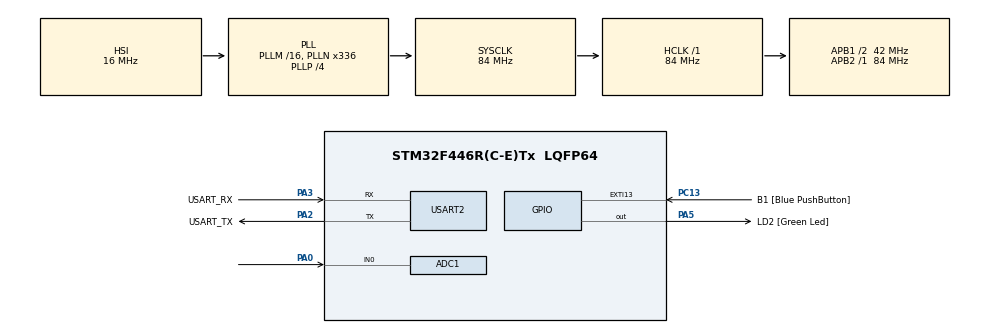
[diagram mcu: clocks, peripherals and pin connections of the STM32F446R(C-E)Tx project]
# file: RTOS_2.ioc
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ADC1.Channel-0\#ChannelRegularConversion=ADC_CHANNEL_0
ADC1.Channel-1\#ChannelRegularConversion=ADC_CHANNEL_TEMPSENSOR
ADC1.DMAContinuousRequests=ENABLE
ADC1.ExternalTrigConv=ADC_EXTERNALTRIGCONV_T2_TRGO
ADC1.NbrOfConversion=2
ADC1.NbrOfConversionFlag=1
ADC1.Rank-0\#ChannelRegularConversion=1
ADC1.Rank-1\#ChannelRegularConversion=2
ADC1.SamplingTime-0\#ChannelRegularConversion=ADC_SAMPLETIME_56CYCLES
ADC1.SamplingTime-1\#ChannelRegularConversion=ADC_SAMPLETIME_480CYCLES
ADC1.ScanConvMode=ENABLE
ADC1.master=1
Dma.ADC1.0.Direction=DMA_PERIPH_TO_MEMORY
Dma.ADC1.0.FIFOMode=DMA_FIFOMODE_DISABLE
Dma.ADC1.0.Instance=DMA2_Stream0
Dma.ADC1.0.MemDataAlignment=DMA_MDATAALIGN_HALFWORD
Dma.ADC1.0.MemInc=DMA_MINC_ENABLE
Dma.ADC1.0.Mode=DMA_CIRCULAR
Dma.ADC1.0.PeriphDataAlignment=DMA_PDATAALIGN_HALFWORD
Dma.ADC1.0.PeriphInc=DMA_PINC_DISABLE
Dma.ADC1.0.Priority=DMA_PRIORITY_LOW
Dma.Request0=ADC1
FREERTOS.Queues01=myQueue01,16,AdcVals_t,0,Dynamic,NULL,NULL;SendQueue,16,CalcVals_t,0,Dynamic,NULL,NULL
FREERTOS.Tasks01=defaultTask,24,128,StartDefaultTask,Default,NULL,Dynamic,NULL,NULL;SendTask,8,2048,StartSendTask,Default,NULL,Dynamic,NULL,NULL
FREERTOS.Timers01=myTimer01,Callback01,osTimerPeriodic,Default,NULL,Dynamic,NULL
FREERTOS.configENABLE_FPU=1
Mcu.Family=STM32F4
Mcu.Name=STM32F446R(C-E)Tx
Mcu.Package=LQFP64
NVIC.DMA2_Stream0_IRQn=true\:5\:0\:false\:false\:true\:true\:false\:true\:true
NVIC.PriorityGroup=NVIC_PRIORITYGROUP_4
NVIC.TIM2_IRQn=true\:5\:0\:false\:false\:true\:true\:true\:true\:true
NVIC.TIM3_IRQn=true\:15\:0\:false\:false\:true\:false\:false\:true\:true
NVIC.TIM6_DAC_IRQn=true\:5\:0\:false\:false\:true\:true\:true\:true\:true
NVIC.TimeBase=TIM3_IRQn
NVIC.TimeBaseIP=TIM3
PA0-WKUP.Signal=ADCx_IN0
PA13.GPIO_Label=TMS
PA13.Mode=Serial_Wire
PA13.Signal=SYS_JTMS-SWDIO
PA14.GPIO_Label=TCK
PA14.Mode=Serial_Wire
PA14.Signal=SYS_JTCK-SWCLK
PA2.GPIO_Label=USART_TX
PA2.Mode=Asynchronous
PA2.Signal=USART2_TX
PA3.GPIO_Label=USART_RX
PA3.Mode=Asynchronous
PA3.Signal=USART2_RX
PA5.GPIO_Label=LD2 [Green Led]
PA5.Signal=GPIO_Output
PB3.GPIO_Label=SWO
PB3.Signal=SYS_JTDO-SWO
PC13.GPIO_Label=B1 [Blue PushButton]
PC13.GPIO_ModeDefaultEXTI=GPIO_MODE_IT_FALLING
PC13.Signal=GPXTI13
PC14-OSC32_IN.Signal=RCC_OSC32_IN
PC15-OSC32_OUT.Signal=RCC_OSC32_OUT
PH0-OSC_IN.Signal=RCC_OSC_IN
PH1-OSC_OUT.Signal=RCC_OSC_OUT
ProjectManager.HeapSize=0x200
ProjectManager.StackSize=0x400
ProjectManager.TargetToolchain=STM32CubeIDE
RCC.AHBFreq_Value=84000000
RCC.APB1CLKDivider=RCC_HCLK_DIV2
RCC.APB1Freq_Value=42000000
RCC.APB1TimFreq_Value=84000000
RCC.APB2Freq_Value=84000000
RCC.APB2TimFreq_Value=84000000
RCC.CortexFreq_Value=84000000
RCC.FLatency-AdvancedSettings=FLASH_LATENCY_2
RCC.HCLKFreq_Value=84000000
RCC.HSE_VALUE=8000000
RCC.HSI_VALUE=16000000
RCC.LSE_VALUE=32768
RCC.PLLN=336
RCC.PLLP=RCC_PLLP_DIV4
RCC.SYSCLKFreq_VALUE=84000000
RCC.SYSCLKSource=RCC_SYSCLKSOURCE_PLLCLK
RCC.USBFreq_Value=168000000
RCC.VCOOutputFreq_Value=336000000
SH.ADCx_IN0.0=ADC1_IN0,IN0
TIM2.AutoReloadPreload=TIM_AUTORELOAD_PRELOAD_ENABLE
TIM2.ClockDivision=TIM_CLOCKDIVISION_DIV4
TIM2.Period=65535
TIM2.Prescaler=642
TIM2.TIM_MasterOutputTrigger=TIM_TRGO_UPDATE
TIM6.AutoReloadPreload=TIM_AUTORELOAD_PRELOAD_ENABLE
TIM6.Prescaler=642
TIM6.TIM_MasterOutputTrigger=TIM_TRGO_UPDATE
USART2.VirtualMode=VM_ASYNC
VP_ADC1_TempSens_Input.Mode=IN-TempSens
VP_FREERTOS_VS_CMSIS_V2.Mode=CMSIS_V2
VP_SYS_VS_tim3.Mode=TIM3
VP_TIM2_VS_ClockSourceINT.Mode=Internal
VP_TIM6_VS_ClockSourceINT.Mode=Enable_Timer
board=NUCLEO-F446RE

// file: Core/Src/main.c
/* USER CODE BEGIN Header */
/**
  ******************************************************************************
  * @file           : main.c
  * @brief          : Main program body
  ******************************************************************************
  * @attention
  *
  * Copyright (c) 2023 STMicroelectronics.
  * All rights reserved.
  *
  * This software is licensed under terms that can be found in the LICENSE file
  * in the root directory of this software component.
  * If no LICENSE file comes with this software, it is provided AS-IS.
  *
  ******************************************************************************
  */
/* USER CODE END Header */
#include "main.h"
#include "cmsis_os.h"

/* USER CODE BEGIN PTD */
typedef struct AdcVals_t {
	volatile uint16_t volt;
	volatile uint16_t temp;
}AdcVals_t;

typedef struct CalcVals_t{
	float buff[16];
	uint8_t count;
	float avg;
	uint16_t freq;
}CalcVals_t;
/* USER CODE END PTD */

/* USER CODE BEGIN PD */
#define V_REFF		3.3
#define V25			0.76
#define AVG_SLOP	0.0025
#define ADC_MAX		4096
/* USER CODE END PD */

ADC_HandleTypeDef hadc1;
DMA_HandleTypeDef hdma_adc1;

TIM_HandleTypeDef htim2;
TIM_HandleTypeDef htim6;

UART_HandleTypeDef huart2;

/* Definitions for defaultTask */
osThreadId_t defaultTaskHandle;
const osThreadAttr_t defaultTask_attributes = {
  .name = "defaultTask",
  .stack_size = 128 * 4,
  .priority = (osPriority_t) osPriorityNormal,
};
/* Definitions for SendTask */
osThreadId_t SendTaskHandle;
const osThreadAttr_t SendTask_attributes = {
  .name = "SendTask",
  .stack_size = 2048 * 4,
  .priority = (osPriority_t) osPriorityLow,
};
/* Definitions for myQueue01 */
osMessageQueueId_t myQueue01Handle;
const osMessageQueueAttr_t myQueue01_attributes = {
  .name = "myQueue01"
};
/* Definitions for SendQueue */
osMessageQueueId_t SendQueueHandle;
const osMessageQueueAttr_t SendQueue_attributes = {
  .name = "SendQueue"
};
/* Definitions for myTimer01 */
osTimerId_t myTimer01Handle;
const osTimerAttr_t myTimer01_attributes = {
  .name = "myTimer01"
};
/* USER CODE BEGIN PV */
volatile uint8_t buf_full = 0;
/* USER CODE END PV */

void SystemClock_Config(void);
static void MX_GPIO_Init(void);
static void MX_DMA_Init(void);
static void MX_ADC1_Init(void);
static void MX_TIM6_Init(void);
static void MX_USART2_UART_Init(void);
static void MX_TIM2_Init(void);
void StartDefaultTask(void *argument);
void StartSendTask(void *argument);
void Callback01(void *argument);

/* USER CODE BEGIN PFP */
float TempCalculate(uint16_t);
void FFT_FreqCalculate(CalcVals_t* , AdcVals_t* );
void AverageTempCalculate(CalcVals_t* , AdcVals_t* );
/* USER CODE END PFP */

int main(void)
{

  /* MCU Configuration--------------------------------------------------------*/

  /* Reset of all peripherals, Initializes the Flash interface and the Systick. */
  HAL_Init();

  /* Configure the system clock */
  SystemClock_Config();

  /* Initialize all configured peripherals */
  MX_GPIO_Init();
  MX_DMA_Init();
  MX_ADC1_Init();
  MX_TIM6_Init();
  MX_USART2_UART_Init();
  MX_TIM2_Init();

  /* Init scheduler */
  osKernelInitialize();

  /* Create the timer(s) */
  /* creation of myTimer01 */
  myTimer01Handle = osTimerNew(Callback01, osTimerPeriodic, NULL, &myTimer01_attributes);

  /* USER CODE BEGIN RTOS_TIMERS */
  /* start timers, add new ones, ... */

  //	TASK 1
//  osTimerStart(myTimer01Handle, 250);

  //	TASK 2
//  HAL_TIM_Base_Start_IT(&htim6);
  /* USER CODE END RTOS_TIMERS */

  /* Create the queue(s) */
  /* creation of myQueue01 */
  myQueue01Handle = osMessageQueueNew (16, sizeof(AdcVals_t), &myQueue01_attributes);

  /* creation of SendQueue */
  SendQueueHandle = osMessageQueueNew (16, sizeof(CalcVals_t), &SendQueue_attributes);

  /* Create the thread(s) */
  /* creation of defaultTask */
  defaultTaskHandle = osThreadNew(StartDefaultTask, NULL, &defaultTask_attributes);

  /* creation of SendTask */
  SendTaskHandle = osThreadNew(StartSendTask, NULL, &SendTask_attributes);

  /* Start scheduler */
  osKernelStart();
  /* We should never get here as control is now taken by the scheduler */
  /* Infinite loop */
  while (1)
  {

  }
}

void SystemClock_Config(void)
{
  RCC_OscInitTypeDef RCC_OscInitStruct = {0};
  RCC_ClkInitTypeDef RCC_ClkInitStruct = {0};

  /** Configure the main internal regulator output voltage
  */
  __HAL_RCC_PWR_CLK_ENABLE();
  __HAL_PWR_VOLTAGESCALING_CONFIG(PWR_REGULATOR_VOLTAGE_SCALE3);

  /** Initializes the RCC Oscillators according to the specified parameters
  * in the RCC_OscInitTypeDef structure.
  */
  RCC_OscInitStruct.OscillatorType = RCC_OSCILLATORTYPE_HSI;
  RCC_OscInitStruct.HSIState = RCC_HSI_ON;
  RCC_OscInitStruct.HSICalibrationValue = RCC_HSICALIBRATION_DEFAULT;
  RCC_OscInitStruct.PLL.PLLState = RCC_PLL_ON;
  RCC_OscInitStruct.PLL.PLLSource = RCC_PLLSOURCE_HSI;
  RCC_OscInitStruct.PLL.PLLM = 16;
  RCC_OscInitStruct.PLL.PLLN = 336;
  RCC_OscInitStruct.PLL.PLLP = RCC_PLLP_DIV4;
  RCC_OscInitStruct.PLL.PLLQ = 2;
  RCC_OscInitStruct.PLL.PLLR = 2;
  if (HAL_RCC_OscConfig(&RCC_OscInitStruct) != HAL_OK)
  {
    Error_Handler();
  }

  /** Initializes the CPU, AHB and APB buses clocks
  */
  RCC_ClkInitStruct.ClockType = RCC_CLOCKTYPE_HCLK|RCC_CLOCKTYPE_SYSCLK
                              |RCC_CLOCKTYPE_PCLK1|RCC_CLOCKTYPE_PCLK2;
  RCC_ClkInitStruct.SYSCLKSource = RCC_SYSCLKSOURCE_PLLCLK;
  RCC_ClkInitStruct.AHBCLKDivider = RCC_SYSCLK_DIV1;
  RCC_ClkInitStruct.APB1CLKDivider = RCC_HCLK_DIV2;
  RCC_ClkInitStruct.APB2CLKDivider = RCC_HCLK_DIV1;

  if (HAL_RCC_ClockConfig(&RCC_ClkInitStruct, FLASH_LATENCY_2) != HAL_OK)
  {
    Error_Handler();
  }
}

static void MX_ADC1_Init(void)
{

  ADC_ChannelConfTypeDef sConfig = {0};

  /** Configure the global features of the ADC (Clock, Resolution, Data Alignment and number of conversion)
  */
  hadc1.Instance = ADC1;
  hadc1.Init.ClockPrescaler = ADC_CLOCK_SYNC_PCLK_DIV4;
  hadc1.Init.Resolution = ADC_RESOLUTION_12B;
  hadc1.Init.ScanConvMode = ENABLE;
  hadc1.Init.ContinuousConvMode = DISABLE;
  hadc1.Init.DiscontinuousConvMode = DISABLE;
  hadc1.Init.ExternalTrigConvEdge = ADC_EXTERNALTRIGCONVEDGE_RISING;
  hadc1.Init.ExternalTrigConv = ADC_EXTERNALTRIGCONV_T2_TRGO;
  hadc1.Init.DataAlign = ADC_DATAALIGN_RIGHT;
  hadc1.Init.NbrOfConversion = 2;
  hadc1.Init.DMAContinuousRequests = ENABLE;
  hadc1.Init.EOCSelection = ADC_EOC_SINGLE_CONV;
  if (HAL_ADC_Init(&hadc1) != HAL_OK)
  {
    Error_Handler();
  }

  /** Configure for the selected ADC regular channel its corresponding rank in the sequencer and its sample time.
  */
  sConfig.Channel = ADC_CHANNEL_0;
  sConfig.Rank = 1;
  sConfig.SamplingTime = ADC_SAMPLETIME_56CYCLES;
  if (HAL_ADC_ConfigChannel(&hadc1, &sConfig) != HAL_OK)
  {
    Error_Handler();
  }

  /** Configure for the selected ADC regular channel its corresponding rank in the sequencer and its sample time.
  */
  sConfig.Channel = ADC_CHANNEL_TEMPSENSOR;
  sConfig.Rank = 2;
  sConfig.SamplingTime = ADC_SAMPLETIME_480CYCLES;
  if (HAL_ADC_ConfigChannel(&hadc1, &sConfig) != HAL_OK)
  {
    Error_Handler();
  }

}

static void MX_TIM2_Init(void)
{

  TIM_ClockConfigTypeDef sClockSourceConfig = {0};
  TIM_MasterConfigTypeDef sMasterConfig = {0};

  htim2.Instance = TIM2;
  htim2.Init.Prescaler = 642;
  htim2.Init.CounterMode = TIM_COUNTERMODE_UP;
  htim2.Init.Period = 65535;
  htim2.Init.ClockDivision = TIM_CLOCKDIVISION_DIV4;
  htim2.Init.AutoReloadPreload = TIM_AUTORELOAD_PRELOAD_ENABLE;
  if (HAL_TIM_Base_Init(&htim2) != HAL_OK)
  {
    Error_Handler();
  }
  sClockSourceConfig.ClockSource = TIM_CLOCKSOURCE_INTERNAL;
  if (HAL_TIM_ConfigClockSource(&htim2, &sClockSourceConfig) != HAL_OK)
  {
    Error_Handler();
  }
  sMasterConfig.MasterOutputTrigger = TIM_TRGO_UPDATE;
  sMasterConfig.MasterSlaveMode = TIM_MASTERSLAVEMODE_DISABLE;
  if (HAL_TIMEx_MasterConfigSynchronization(&htim2, &sMasterConfig) != HAL_OK)
  {
    Error_Handler();
  }

}

static void MX_TIM6_Init(void)
{

  TIM_MasterConfigTypeDef sMasterConfig = {0};

  htim6.Instance = TIM6;
  htim6.Init.Prescaler = 642;
  htim6.Init.CounterMode = TIM_COUNTERMODE_UP;
  htim6.Init.Period = 65535;
  htim6.Init.AutoReloadPreload = TIM_AUTORELOAD_PRELOAD_ENABLE;
  if (HAL_TIM_Base_Init(&htim6) != HAL_OK)
  {
    Error_Handler();
  }
  sMasterConfig.MasterOutputTrigger = TIM_TRGO_UPDATE;
  sMasterConfig.MasterSlaveMode = TIM_MASTERSLAVEMODE_DISABLE;
  if (HAL_TIMEx_MasterConfigSynchronization(&htim6, &sMasterConfig) != HAL_OK)
  {
    Error_Handler();
  }

}

static void MX_USART2_UART_Init(void)
{

  huart2.Instance = USART2;
  huart2.Init.BaudRate = 115200;
  huart2.Init.WordLength = UART_WORDLENGTH_8B;
  huart2.Init.StopBits = UART_STOPBITS_1;
  huart2.Init.Parity = UART_PARITY_NONE;
  huart2.Init.Mode = UART_MODE_TX_RX;
  huart2.Init.HwFlowCtl = UART_HWCONTROL_NONE;
  huart2.Init.OverSampling = UART_OVERSAMPLING_16;
  if (HAL_UART_Init(&huart2) != HAL_OK)
  {
    Error_Handler();
  }

}

static void MX_DMA_Init(void)
{

  /* DMA controller clock enable */
  __HAL_RCC_DMA2_CLK_ENABLE();

  /* DMA interrupt init */
  /* DMA2_Stream0_IRQn interrupt configuration */
  HAL_NVIC_SetPriority(DMA2_Stream0_IRQn, 5, 0);
  HAL_NVIC_EnableIRQ(DMA2_Stream0_IRQn);

}

static void MX_GPIO_Init(void)
{
  GPIO_InitTypeDef GPIO_InitStruct = {0};

  /* GPIO Ports Clock Enable */
  __HAL_RCC_GPIOC_CLK_ENABLE();
  __HAL_RCC_GPIOH_CLK_ENABLE();
  __HAL_RCC_GPIOA_CLK_ENABLE();
  __HAL_RCC_GPIOB_CLK_ENABLE();

  /*Configure GPIO pin Output Level */
  HAL_GPIO_WritePin(LD2_GPIO_Port, LD2_Pin, GPIO_PIN_RESET);

  /*Configure GPIO pin : B1_Pin */
  GPIO_InitStruct.Pin = B1_Pin;
  GPIO_InitStruct.Mode = GPIO_MODE_IT_FALLING;
  GPIO_InitStruct.Pull = GPIO_NOPULL;
  HAL_GPIO_Init(B1_GPIO_Port, &GPIO_InitStruct);

  /*Configure GPIO pin : LD2_Pin */
  GPIO_InitStruct.Pin = LD2_Pin;
  GPIO_InitStruct.Mode = GPIO_MODE_OUTPUT_PP;
  GPIO_InitStruct.Pull = GPIO_NOPULL;
  GPIO_InitStruct.Speed = GPIO_SPEED_FREQ_LOW;
  HAL_GPIO_Init(LD2_GPIO_Port, &GPIO_InitStruct);

}

/* USER CODE BEGIN 4 */

void HAL_ADC_ConvCpltCallback(ADC_HandleTypeDef* hadc1)
{
	buf_full = 1;
}

void FFT_FreqCalculate(CalcVals_t* calc, AdcVals_t* raw)
{
// there should be FFT implemented
	calc->freq = raw->volt;
}

void AverageTempCalculate(CalcVals_t* calc, AdcVals_t* raw)
{
	uint8_t i;

	// check temperature buffer if full -> reset
	if(calc->count == 15) calc->count = 0;
	// add Temperature value to the buffer
	calc->buff[calc->count++] = TempCalculate(raw->temp);

	calc->avg = 0;

	for(i = 0; i < 32; i++)
	{
		if(calc->buff[i] == 0) break;
		calc->avg += calc->buff[i];
	}

	calc->avg /= i;
}

float TempCalculate(uint16_t ADC_value)
{
	float temp = (((ADC_value * V_REFF / 4095 - V25) / AVG_SLOP) + 25);

	return temp;

}
/* USER CODE END 4 */

void StartDefaultTask(void *argument)
{
  /* USER CODE BEGIN 5 */
	AdcVals_t raw;
	CalcVals_t calculated = {0};

	HAL_TIM_Base_Start(&htim2);
	HAL_ADC_Start_DMA(&hadc1, &raw, 2);

	/* Infinite loop */

	for(;;)
	{
		// Check if there is some messages in queue
//		if(osMessageQueueGetCount(myQueue01Handle)) {
		if(buf_full) {
			// Receiving a message
//			if(osMessageQueueGet(myQueue01Handle, (void*)&raw, 0, 0) != osOK) Error_Handler();
			// calculate temp value then average value and put it in structure
			AverageTempCalculate(&calculated ,&raw);
			// FFT frequency calculaton was not implemented
			FFT_FreqCalculate(&calculated ,&raw);

			//Put calculated data in queue to be send over UART
			if(osMessageQueuePut(SendQueueHandle, (void*)&calculated, 0, 0) != osOK) Error_Handler();
			buf_full = 0;
		}

		osDelay(1);
	}
  /* USER CODE END 5 */
}

void StartSendTask(void *argument)
{
  /* USER CODE BEGIN StartSendTask */
	CalcVals_t vals;
	uint8_t txbuf[64];
  /* Infinite loop */
  for(;;)
  {
	// Check if there is some messages in queue
	if(osMessageQueueGetCount(SendQueueHandle)) {
		// Receiving a message
		if(osMessageQueueGet(SendQueueHandle, (void*)&vals, 0, 0) != osOK) Error_Handler();

		sprintf((char*)txbuf, "Average Temperature: %f\r\n", vals.avg);
		HAL_UART_Transmit(&huart2, txbuf, strlen((char*)txbuf), HAL_MAX_DELAY);

	}
    osDelay(1);
  }
  /* USER CODE END StartSendTask */
}

/* Callback01 function */
void Callback01(void *argument)
{
  /* USER CODE BEGIN Callback01 */

	AdcVals_t adc_vals;

	// Get ADCs here
	HAL_ADC_Start(&hadc1);
	HAL_ADC_PollForConversion(&hadc1, 500);
	adc_vals.volt = HAL_ADC_GetValue(&hadc1);

	HAL_ADC_Start(&hadc1);
	HAL_ADC_PollForConversion(&hadc1, 500);
	adc_vals.temp = HAL_ADC_GetValue(&hadc1);

	if(osMessageQueuePut(myQueue01Handle, (void*)&adc_vals, 0, 0) != osOK) Error_Handler();
  /* USER CODE END Callback01 */
}

void HAL_TIM_PeriodElapsedCallback(TIM_HandleTypeDef *htim)
{
  if (htim->Instance == TIM3) {
    HAL_IncTick();
  }
  /* USER CODE BEGIN Callback 1 */
  if(htim->Instance == TIM6) {

	  HAL_GPIO_TogglePin(LD2_GPIO_Port, LD2_Pin);

	  AdcVals_t adc_vals;

	  // Get ADCs here
	  HAL_ADC_Start(&hadc1);
	  HAL_ADC_PollForConversion(&hadc1, 500);
	  adc_vals.volt = HAL_ADC_GetValue(&hadc1);

	  HAL_ADC_Start(&hadc1);
	  HAL_ADC_PollForConversion(&hadc1, 500);
	  adc_vals.temp = HAL_ADC_GetValue(&hadc1);

	  if(osMessageQueuePut(myQueue01Handle, (void*)&adc_vals, 0, 0) != osOK);// Error_Handler();
  }
  /* USER CODE END Callback 1 */
}

void Error_Handler(void)
{
  __disable_irq();
  while (1)
  {
  }
}
